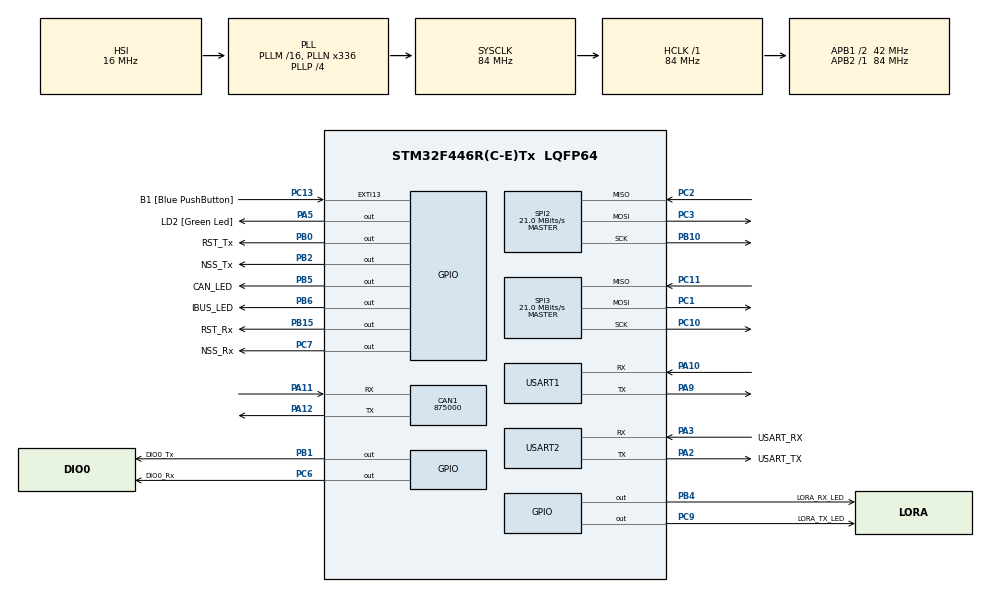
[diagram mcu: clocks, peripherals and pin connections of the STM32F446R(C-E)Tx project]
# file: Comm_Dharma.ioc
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CAN1.CalculateBaudRate=875000
CAN1.CalculateTimeBit=1142
CAN1.CalculateTimeQuantum=380.95238095238096
Dma.Request0=USART1_RX
Dma.USART1_RX.0.Direction=DMA_PERIPH_TO_MEMORY
Dma.USART1_RX.0.FIFOMode=DMA_FIFOMODE_DISABLE
Dma.USART1_RX.0.Instance=DMA2_Stream2
Dma.USART1_RX.0.MemDataAlignment=DMA_MDATAALIGN_BYTE
Dma.USART1_RX.0.MemInc=DMA_MINC_ENABLE
Dma.USART1_RX.0.Mode=DMA_NORMAL
Dma.USART1_RX.0.PeriphDataAlignment=DMA_PDATAALIGN_BYTE
Dma.USART1_RX.0.PeriphInc=DMA_PINC_DISABLE
Dma.USART1_RX.0.Priority=DMA_PRIORITY_MEDIUM
Mcu.Family=STM32F4
Mcu.Name=STM32F446R(C-E)Tx
Mcu.Package=LQFP64
NVIC.DMA2_Stream2_IRQn=true\:0\:0\:false\:false\:true\:false\:true\:true
NVIC.PriorityGroup=NVIC_PRIORITYGROUP_0
PA10.Mode=Asynchronous
PA10.Signal=USART1_RX
PA11.Mode=CAN_Activate
PA11.Signal=CAN1_RX
PA12.Mode=CAN_Activate
PA12.Signal=CAN1_TX
PA13.GPIO_Label=TMS
PA13.Mode=Serial_Wire
PA13.Signal=SYS_JTMS-SWDIO
PA14.GPIO_Label=TCK
PA14.Mode=Serial_Wire
PA14.Signal=SYS_JTCK-SWCLK
PA2.GPIO_Label=USART_TX
PA2.Mode=Asynchronous
PA2.Signal=USART2_TX
PA3.GPIO_Label=USART_RX
PA3.Mode=Asynchronous
PA3.Signal=USART2_RX
PA5.GPIO_Label=LD2 [Green Led]
PA5.Signal=GPIO_Output
PA9.Mode=Asynchronous
PA9.Signal=USART1_TX
PB0.GPIO_Label=RST_Tx
PB0.Signal=GPIO_Output
PB1.GPIO_Label=DIO0_Tx
PB1.Signal=GPIO_Output
PB10.Mode=Full_Duplex_Master
PB10.Signal=SPI2_SCK
PB15.GPIO_Label=RST_Rx
PB15.Signal=GPIO_Output
PB2.GPIO_Label=NSS_Tx
PB2.Signal=GPIO_Output
PB3.GPIO_Label=SWO
PB3.Signal=SYS_JTDO-SWO
PB4.GPIO_Label=LORA_RX_LED
PB4.Signal=GPIO_Output
PB5.GPIO_Label=CAN_LED
PB5.Signal=GPIO_Output
PB6.GPIO_Label=IBUS_LED
PB6.Signal=GPIO_Output
PC1.Mode=Full_Duplex_Master
PC1.Signal=SPI3_MOSI
PC10.Mode=Full_Duplex_Master
PC10.Signal=SPI3_SCK
PC11.Mode=Full_Duplex_Master
PC11.Signal=SPI3_MISO
PC13.GPIO_Label=B1 [Blue PushButton]
PC13.GPIO_ModeDefaultEXTI=GPIO_MODE_IT_FALLING
PC13.Signal=GPXTI13
PC14-OSC32_IN.Mode=LSE-External-Oscillator
PC14-OSC32_IN.Signal=RCC_OSC32_IN
PC15-OSC32_OUT.Mode=LSE-External-Oscillator
PC15-OSC32_OUT.Signal=RCC_OSC32_OUT
PC2.Mode=Full_Duplex_Master
PC2.Signal=SPI2_MISO
PC3.Mode=Full_Duplex_Master
PC3.Signal=SPI2_MOSI
PC6.GPIO_Label=DIO0_Rx
PC6.Signal=GPIO_Output
PC7.GPIO_Label=NSS_Rx
PC7.Signal=GPIO_Output
PC9.GPIO_Label=LORA_TX_LED
PC9.Signal=GPIO_Output
PH0-OSC_IN.Mode=HSE-External-Oscillator
PH0-OSC_IN.Signal=RCC_OSC_IN
PH1-OSC_OUT.Mode=HSE-External-Oscillator
PH1-OSC_OUT.Signal=RCC_OSC_OUT
ProjectManager.HeapSize=0x200
ProjectManager.StackSize=0x400
ProjectManager.TargetToolchain=STM32CubeIDE
RCC.48MHZClocksFreq_Value=84000000
RCC.AHBFreq_Value=84000000
RCC.APB1CLKDivider=RCC_HCLK_DIV2
RCC.APB1Freq_Value=42000000
RCC.APB1TimFreq_Value=84000000
RCC.APB2Freq_Value=84000000
RCC.APB2TimFreq_Value=84000000
RCC.CortexFreq_Value=84000000
RCC.FLatency-AdvancedSettings=FLASH_LATENCY_2
RCC.HCLKFreq_Value=84000000
RCC.HSE_VALUE=8000000
RCC.HSI_VALUE=16000000
RCC.PLLN=336
RCC.PLLP=RCC_PLLP_DIV4
RCC.SYSCLKFreq_VALUE=84000000
RCC.SYSCLKSource=RCC_SYSCLKSOURCE_PLLCLK
RCC.USBFreq_Value=168000000
RCC.VCOOutputFreq_Value=336000000
SPI2.CalculateBaudRate=21.0 MBits/s
SPI2.Direction=SPI_DIRECTION_2LINES
SPI2.Mode=SPI_MODE_MASTER
SPI2.VirtualType=VM_MASTER
SPI3.CalculateBaudRate=21.0 MBits/s
SPI3.Direction=SPI_DIRECTION_2LINES
SPI3.Mode=SPI_MODE_MASTER
SPI3.VirtualType=VM_MASTER
USART1.VirtualMode=VM_ASYNC
USART2.VirtualMode=VM_ASYNC
board=NUCLEO-F446RE

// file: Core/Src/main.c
/* USER CODE BEGIN Header */
/**
  ******************************************************************************
  * @file           : main.c
  * @brief          : Main program body
  ******************************************************************************
  * @attention
  *
  * Copyright (c) 2025 STMicroelectronics.
  * All rights reserved.
  *
  * This software is licensed under terms that can be found in the LICENSE file
  * in the root directory of this software component.
  * If no LICENSE file comes with this software, it is provided AS-IS.
  *
  ******************************************************************************
  */
/* USER CODE END Header */
#include "main.h"
#include "stdio.h"
#include "math.h"
#include "stdint.h"
#include "stdbool.h"
#include "string.h"
/* USER CODE BEGIN Includes */
#include "LoRa.h"
#include "J3_IBUS_FLYSKY.h"
/* USER CODE END Includes */

CAN_HandleTypeDef hcan1;

SPI_HandleTypeDef hspi2;
SPI_HandleTypeDef hspi3;

UART_HandleTypeDef huart1;
UART_HandleTypeDef huart2;
DMA_HandleTypeDef hdma_usart1_rx;

/* USER CODE BEGIN PV */
TRxIBus *RxIBus;
LoRa LoRa_Receive;  //Receive Instance
LoRa LoRa_Transmit; //Transmit Instance
/* USER CODE END PV */

bool extract_and_sum_data(void);
void channel_value(void);
void SystemClock_Config(void);
static void MX_GPIO_Init(void);
static void MX_DMA_Init(void);
static void MX_USART1_UART_Init(void);
static void MX_USART2_UART_Init(void);
static void MX_CAN1_Init(void);
static void MX_SPI2_Init(void);
static void MX_SPI3_Init(void);
/* USER CODE BEGIN PFP */

#define TEMP_BUFFER_SIZE 1024  // maximum size for temp_buffer
#define TARGET_SIZE 32
char temp_buffer[TEMP_BUFFER_SIZE];  // global buffer to store the formatted output
uint16_t temp_buffer_index = 0;  // index to track where we are in the temp_buffer
#define FRAME_SIZE 32

/*Global Channel Data*/
uint16_t channel_1= 0;
uint16_t channel_2= 0;
uint16_t channel_3= 0;
uint16_t channel_4= 0;
uint16_t channel_5= 0;
uint16_t channel_6= 0;
uint16_t channel_7= 0;
uint16_t channel_8= 0;
uint16_t channel_9= 0;
uint16_t channel_10= 0;

//LORA Global Variables
uint8_t read_data[128];
uint8_t send_data[128];
uint8_t packet_size = 0;

//example data

/* USER CODE END PFP */

int main(void)
{

  /* MCU Configuration--------------------------------------------------------*/

  /* Reset of all peripherals, Initializes the Flash interface and the Systick. */
  HAL_Init();

  /* Configure the system clock */
  SystemClock_Config();

  /* Initialize all configured peripherals */
  MX_GPIO_Init();
  MX_DMA_Init();
  MX_USART1_UART_Init();
  MX_USART2_UART_Init();
  MX_CAN1_Init();
  MX_SPI2_Init();
  MX_SPI3_Init();
  /* USER CODE BEGIN 2 */

  //IBUS Initialization
  RxIBus = J3_IBUS_new(&huart1, 14);
  HAL_UART_Receive_DMA(&huart1, RxIBus->buffer, 64);

  //LORA Initialization
  LoRa_Receive = newLoRa();
  LoRa_Transmit = newLoRa();

  //LORA pins initialization
	LoRa_Receive.hSPIx                 = &hspi3;
	LoRa_Receive.CS_port               = NSS_Tx_GPIO_Port;
	LoRa_Receive.CS_pin                = NSS_Tx_Pin;
	LoRa_Receive.reset_port            = RST_Tx_GPIO_Port;
	LoRa_Receive.reset_pin             = RST_Tx_Pin;
	LoRa_Receive.DIO0_port			   =   DIO0_Tx_GPIO_Port;
	LoRa_Receive.DIO0_pin			   = DIO0_Tx_Pin;

	LoRa_Receive.frequency             = 450;					    // default = 433 MHz
	LoRa_Receive.spredingFactor        = SF_7;					   // default = SF_7
	LoRa_Receive.bandWidth			   = BW_125KHz;				  // default = BW_125KHz
	LoRa_Receive.crcRate			   = CR_4_5;				 // default = CR_4_5
	LoRa_Receive.power			       = POWER_20db;			// default = 20db
	LoRa_Receive.overCurrentProtection = 120; 				   // default = 100 mA
	LoRa_Receive.preamble			   = 10;	              // default = 8;

	LoRa_Transmit.hSPIx                 = &hspi2;
	LoRa_Transmit.CS_port               = NSS_Rx_GPIO_Port;
	LoRa_Transmit.CS_pin                = NSS_Rx_Pin;
	LoRa_Transmit.reset_port            = RST_Rx_GPIO_Port;
	LoRa_Transmit.reset_pin             = RST_Rx_Pin;
	LoRa_Transmit.DIO0_port			 	= DIO0_Rx_GPIO_Port;
	LoRa_Transmit.DIO0_pin				= DIO0_Rx_Pin;

	LoRa_Transmit.frequency             = 433;							 // default = 433 MHz
	LoRa_Transmit.spredingFactor        = SF_7;							// default = SF_7
	LoRa_Transmit.bandWidth			    = BW_125KHz;				   // default = BW_125KHz
	LoRa_Transmit.crcRate				= CR_4_5;					  // default = CR_4_5
	LoRa_Transmit.power			        = POWER_20db;				 // default = 20db
	LoRa_Transmit.overCurrentProtection = 120; 					    // default = 100 mA
	LoRa_Transmit.preamble				= 10;

	LoRa_reset(&LoRa_Receive);
	LoRa_reset(&LoRa_Transmit);
	LoRa_init(&LoRa_Receive);
	LoRa_init(&LoRa_Transmit);

	HAL_UART_Transmit(&huart2, (uint8_t*)"Communication Dharma STM32 !\n", 40, HAL_MAX_DELAY);
  /* USER CODE END 2 */

  /* Infinite loop */
  while (1)
  {
	 LoRa_startReceiving(&LoRa_Receive);
	 packet_size = LoRa_receive(&LoRa_Receive, read_data, 12);

	 //optional
	 //HAL_UART_Transmit(&huart2, (uint8_t*)read_data, packet_size,HAL_MAX_DELAY);
	 //HAL_UART_Transmit(&huart2,(uint8_t*)"\n", 1,HAL_MAX_DELAY);

	 copy_buffer(RxIBus->buffer, 64);
	 if(extract_and_sum_data()==true){
		 channel_value();
	 }
	 J3_IBUS_RequestNewData(RxIBus);
	 //optional
	 /*HAL_UART_Transmit(&huart2, temp_buffer,128, HAL_MAX_DELAY);
	 HAL_UART_Transmit(&huart2, "\r\n", 2, HAL_MAX_DELAY);*/
	  //J3_IBUS_RequestNewData(RxIBus);
	  //HAL_Delay(100);
	  send_data[0] = 'x';
	  send_data[1] = 'h';
	  send_data[2] = 'i';
	  LoRa_transmit(&LoRa_Transmit, send_data, 128, 500);
  }
}

void SystemClock_Config(void)
{
  RCC_OscInitTypeDef RCC_OscInitStruct = {0};
  RCC_ClkInitTypeDef RCC_ClkInitStruct = {0};

  /** Configure the main internal regulator output voltage
  */
  __HAL_RCC_PWR_CLK_ENABLE();
  __HAL_PWR_VOLTAGESCALING_CONFIG(PWR_REGULATOR_VOLTAGE_SCALE3);

  /** Initializes the RCC Oscillators according to the specified parameters
  * in the RCC_OscInitTypeDef structure.
  */
  RCC_OscInitStruct.OscillatorType = RCC_OSCILLATORTYPE_HSI;
  RCC_OscInitStruct.HSIState = RCC_HSI_ON;
  RCC_OscInitStruct.HSICalibrationValue = RCC_HSICALIBRATION_DEFAULT;
  RCC_OscInitStruct.PLL.PLLState = RCC_PLL_ON;
  RCC_OscInitStruct.PLL.PLLSource = RCC_PLLSOURCE_HSI;
  RCC_OscInitStruct.PLL.PLLM = 16;
  RCC_OscInitStruct.PLL.PLLN = 336;
  RCC_OscInitStruct.PLL.PLLP = RCC_PLLP_DIV4;
  RCC_OscInitStruct.PLL.PLLQ = 2;
  RCC_OscInitStruct.PLL.PLLR = 2;
  if (HAL_RCC_OscConfig(&RCC_OscInitStruct) != HAL_OK)
  {
    Error_Handler();
  }

  /** Initializes the CPU, AHB and APB buses clocks
  */
  RCC_ClkInitStruct.ClockType = RCC_CLOCKTYPE_HCLK|RCC_CLOCKTYPE_SYSCLK
                              |RCC_CLOCKTYPE_PCLK1|RCC_CLOCKTYPE_PCLK2;
  RCC_ClkInitStruct.SYSCLKSource = RCC_SYSCLKSOURCE_PLLCLK;
  RCC_ClkInitStruct.AHBCLKDivider = RCC_SYSCLK_DIV1;
  RCC_ClkInitStruct.APB1CLKDivider = RCC_HCLK_DIV2;
  RCC_ClkInitStruct.APB2CLKDivider = RCC_HCLK_DIV1;

  if (HAL_RCC_ClockConfig(&RCC_ClkInitStruct, FLASH_LATENCY_2) != HAL_OK)
  {
    Error_Handler();
  }
}

static void MX_CAN1_Init(void)
{

  hcan1.Instance = CAN1;
  hcan1.Init.Prescaler = 16;
  hcan1.Init.Mode = CAN_MODE_NORMAL;
  hcan1.Init.SyncJumpWidth = CAN_SJW_1TQ;
  hcan1.Init.TimeSeg1 = CAN_BS1_1TQ;
  hcan1.Init.TimeSeg2 = CAN_BS2_1TQ;
  hcan1.Init.TimeTriggeredMode = DISABLE;
  hcan1.Init.AutoBusOff = DISABLE;
  hcan1.Init.AutoWakeUp = DISABLE;
  hcan1.Init.AutoRetransmission = DISABLE;
  hcan1.Init.ReceiveFifoLocked = DISABLE;
  hcan1.Init.TransmitFifoPriority = DISABLE;
  if (HAL_CAN_Init(&hcan1) != HAL_OK)
  {
    Error_Handler();
  }

}

static void MX_SPI2_Init(void)
{

  /* SPI2 parameter configuration*/
  hspi2.Instance = SPI2;
  hspi2.Init.Mode = SPI_MODE_MASTER;
  hspi2.Init.Direction = SPI_DIRECTION_2LINES;
  hspi2.Init.DataSize = SPI_DATASIZE_8BIT;
  hspi2.Init.CLKPolarity = SPI_POLARITY_LOW;
  hspi2.Init.CLKPhase = SPI_PHASE_1EDGE;
  hspi2.Init.NSS = SPI_NSS_SOFT;
  hspi2.Init.BaudRatePrescaler = SPI_BAUDRATEPRESCALER_2;
  hspi2.Init.FirstBit = SPI_FIRSTBIT_MSB;
  hspi2.Init.TIMode = SPI_TIMODE_DISABLE;
  hspi2.Init.CRCCalculation = SPI_CRCCALCULATION_DISABLE;
  hspi2.Init.CRCPolynomial = 10;
  if (HAL_SPI_Init(&hspi2) != HAL_OK)
  {
    Error_Handler();
  }

}

static void MX_SPI3_Init(void)
{

  /* SPI3 parameter configuration*/
  hspi3.Instance = SPI3;
  hspi3.Init.Mode = SPI_MODE_MASTER;
  hspi3.Init.Direction = SPI_DIRECTION_2LINES;
  hspi3.Init.DataSize = SPI_DATASIZE_8BIT;
  hspi3.Init.CLKPolarity = SPI_POLARITY_LOW;
  hspi3.Init.CLKPhase = SPI_PHASE_1EDGE;
  hspi3.Init.NSS = SPI_NSS_SOFT;
  hspi3.Init.BaudRatePrescaler = SPI_BAUDRATEPRESCALER_2;
  hspi3.Init.FirstBit = SPI_FIRSTBIT_MSB;
  hspi3.Init.TIMode = SPI_TIMODE_DISABLE;
  hspi3.Init.CRCCalculation = SPI_CRCCALCULATION_DISABLE;
  hspi3.Init.CRCPolynomial = 10;
  if (HAL_SPI_Init(&hspi3) != HAL_OK)
  {
    Error_Handler();
  }

}

static void MX_USART1_UART_Init(void)
{

  huart1.Instance = USART1;
  huart1.Init.BaudRate = 115200;
  huart1.Init.WordLength = UART_WORDLENGTH_8B;
  huart1.Init.StopBits = UART_STOPBITS_1;
  huart1.Init.Parity = UART_PARITY_NONE;
  huart1.Init.Mode = UART_MODE_TX_RX;
  huart1.Init.HwFlowCtl = UART_HWCONTROL_NONE;
  huart1.Init.OverSampling = UART_OVERSAMPLING_16;
  if (HAL_UART_Init(&huart1) != HAL_OK)
  {
    Error_Handler();
  }

}

static void MX_USART2_UART_Init(void)
{

  huart2.Instance = USART2;
  huart2.Init.BaudRate = 115200;
  huart2.Init.WordLength = UART_WORDLENGTH_8B;
  huart2.Init.StopBits = UART_STOPBITS_1;
  huart2.Init.Parity = UART_PARITY_NONE;
  huart2.Init.Mode = UART_MODE_TX_RX;
  huart2.Init.HwFlowCtl = UART_HWCONTROL_NONE;
  huart2.Init.OverSampling = UART_OVERSAMPLING_16;
  if (HAL_UART_Init(&huart2) != HAL_OK)
  {
    Error_Handler();
  }

}

static void MX_DMA_Init(void)
{

  /* DMA controller clock enable */
  __HAL_RCC_DMA2_CLK_ENABLE();

  /* DMA interrupt init */
  /* DMA2_Stream2_IRQn interrupt configuration */
  HAL_NVIC_SetPriority(DMA2_Stream2_IRQn, 0, 0);
  HAL_NVIC_EnableIRQ(DMA2_Stream2_IRQn);

}

static void MX_GPIO_Init(void)
{
  GPIO_InitTypeDef GPIO_InitStruct = {0};

  /* GPIO Ports Clock Enable */
  __HAL_RCC_GPIOC_CLK_ENABLE();
  __HAL_RCC_GPIOH_CLK_ENABLE();
  __HAL_RCC_GPIOA_CLK_ENABLE();
  __HAL_RCC_GPIOB_CLK_ENABLE();

  /*Configure GPIO pin Output Level */
  HAL_GPIO_WritePin(LD2_GPIO_Port, LD2_Pin, GPIO_PIN_RESET);

  /*Configure GPIO pin Output Level */
  HAL_GPIO_WritePin(GPIOB, RST_Tx_Pin|DIO0_Tx_Pin|NSS_Tx_Pin|RST_Rx_Pin
                          |LORA_RX_LED_Pin|CAN_LED_Pin|IBUS_LED_Pin, GPIO_PIN_RESET);

  /*Configure GPIO pin Output Level */
  HAL_GPIO_WritePin(GPIOC, DIO0_Rx_Pin|NSS_Rx_Pin|LORA_TX_LED_Pin, GPIO_PIN_RESET);

  /*Configure GPIO pin : B1_Pin */
  GPIO_InitStruct.Pin = B1_Pin;
  GPIO_InitStruct.Mode = GPIO_MODE_IT_FALLING;
  GPIO_InitStruct.Pull = GPIO_NOPULL;
  HAL_GPIO_Init(B1_GPIO_Port, &GPIO_InitStruct);

  /*Configure GPIO pin : LD2_Pin */
  GPIO_InitStruct.Pin = LD2_Pin;
  GPIO_InitStruct.Mode = GPIO_MODE_OUTPUT_PP;
  GPIO_InitStruct.Pull = GPIO_NOPULL;
  GPIO_InitStruct.Speed = GPIO_SPEED_FREQ_LOW;
  HAL_GPIO_Init(LD2_GPIO_Port, &GPIO_InitStruct);

  /*Configure GPIO pins : RST_Tx_Pin DIO0_Tx_Pin NSS_Tx_Pin RST_Rx_Pin
                           LORA_RX_LED_Pin CAN_LED_Pin IBUS_LED_Pin */
  GPIO_InitStruct.Pin = RST_Tx_Pin|DIO0_Tx_Pin|NSS_Tx_Pin|RST_Rx_Pin
                          |LORA_RX_LED_Pin|CAN_LED_Pin|IBUS_LED_Pin;
  GPIO_InitStruct.Mode = GPIO_MODE_OUTPUT_PP;
  GPIO_InitStruct.Pull = GPIO_NOPULL;
  GPIO_InitStruct.Speed = GPIO_SPEED_FREQ_LOW;
  HAL_GPIO_Init(GPIOB, &GPIO_InitStruct);

  /*Configure GPIO pins : DIO0_Rx_Pin NSS_Rx_Pin LORA_TX_LED_Pin */
  GPIO_InitStruct.Pin = DIO0_Rx_Pin|NSS_Rx_Pin|LORA_TX_LED_Pin;
  GPIO_InitStruct.Mode = GPIO_MODE_OUTPUT_PP;
  GPIO_InitStruct.Pull = GPIO_NOPULL;
  GPIO_InitStruct.Speed = GPIO_SPEED_FREQ_LOW;
  HAL_GPIO_Init(GPIOC, &GPIO_InitStruct);

}

/* USER CODE BEGIN 4 */
bool extract_and_sum_data(void) {
    uint32_t sum = 0;
    uint16_t num_values = 0;
    uint16_t num_values_x = 0;
    uint16_t last_two_values[2] = {0};
    uint16_t expected_result = 0;

    for (uint16_t i = 0; i < temp_buffer_index - 3; i++) {
        if (temp_buffer[i] == '0' && temp_buffer[i + 1] == 'x') {

            char hex_value[3] = {};
            hex_value[0] = temp_buffer[i + 2];
            hex_value[1] = temp_buffer[i + 3];

            uint8_t value = (uint8_t)strtol(hex_value, NULL, 16);
            num_values_x++;
           if (num_values_x == 31) {
                last_two_values[0] = value;
            }
            if (num_values_x == 32) {
                last_two_values[1] = value;
            }

            i += 3;

            if (num_values_x >= 32) {
                break;
            }
        }
    }

    for (uint16_t i = 0; i < temp_buffer_index - 3; i++) {
        if (temp_buffer[i] == '0' && temp_buffer[i + 1] == 'x') {
            char hex_value[3] = {};
            hex_value[0] = temp_buffer[i + 2];
            hex_value[1] = temp_buffer[i + 3];

            uint8_t value = (uint8_t)strtol(hex_value, NULL, 16);
            sum += value;
            num_values++;

            i += 3;
            if (num_values >= 30) {
                break;
            }
        }
    }

    uint32_t result = 0xFFFF - sum;

    expected_result = (last_two_values[1] << 8) | last_two_values[0];

    //optional

    /*char result_str[40];
    char result_str_2[40];

    snprintf(result_str, sizeof(result_str), "Result: 0x%04X", result);
    HAL_UART_Transmit(&huart2, (uint8_t*)result_str, strlen(result_str), HAL_MAX_DELAY);
    HAL_UART_Transmit(&huart2, "\r\n", 2, HAL_MAX_DELAY);

    snprintf(result_str_2, sizeof(result_str), "Expected: 0x%04X", expected_result);
    HAL_UART_Transmit(&huart2, (uint8_t*)result_str, strlen(result_str), HAL_MAX_DELAY);
    HAL_UART_Transmit(&huart2, "\r\n", 2, HAL_MAX_DELAY);  // Send newline after expected result*/

    if (result == expected_result) {
        //HAL_UART_Transmit(&huart2, "Match!\r\n", 8, HAL_MAX_DELAY);
    	return true;
    } else {
        //HAL_UART_Transmit(&huart2, "No Match!\r\n", 11, HAL_MAX_DELAY);
        //Error_Handler();
    	return false;
    }
}

void channel_value() {
    uint16_t num_values_x = 0;
    uint16_t channel_1_hex[2] = {0};
    uint16_t channel_2_hex[2] = {0};
    uint16_t channel_3_hex[2] = {0};
    uint16_t channel_4_hex[2] = {0};
    uint16_t channel_5_hex[2] = {0};
    uint16_t channel_6_hex[2] = {0};
    uint16_t channel_7_hex[2] = {0};
    uint16_t channel_8_hex[2] = {0};
    uint16_t channel_9_hex[2] = {0};
    uint16_t channel_10_hex[2] = {0};

    for (uint16_t i = 0; i < temp_buffer_index - 3; i++) {
        if (temp_buffer[i] == '0' && temp_buffer[i + 1] == 'x') {

            char hex_value[3] = {};
            hex_value[0] = temp_buffer[i + 2];
            hex_value[1] = temp_buffer[i + 3];

            uint8_t value = (uint8_t)strtol(hex_value, NULL, 16);
            num_values_x++;
            if (num_values_x == 3) {
            	channel_1_hex[0] = value;
            }
            if (num_values_x == 4) {
            	channel_1_hex[1] = value;
            }
            if (num_values_x == 5) {
            	channel_2_hex[0] = value;
            }
            if (num_values_x == 6) {
            	channel_2_hex[1] = value;
            }
            if (num_values_x == 7) {
            	channel_3_hex[0] = value;
            }
            if (num_values_x == 8) {
            	channel_3_hex[1] = value;
            }
            if (num_values_x == 9) {
            	channel_4_hex[0] = value;
            }
            if (num_values_x == 10) {
            	channel_4_hex[1] = value;
            }
            if (num_values_x == 11) {
            	channel_5_hex[0] = value;
            }
            if (num_values_x == 12) {
            	channel_5_hex[1] = value;
            }
            if (num_values_x == 13) {
            	channel_6_hex[0] = value;
            }
            if (num_values_x == 14) {
            	channel_6_hex[1] = value;
            }
            if (num_values_x == 15) {
            	channel_7_hex[0] = value;
            }
            if (num_values_x == 16) {
            	channel_7_hex[1] = value;
            }
            if (num_values_x == 17) {
            	channel_8_hex[0] = value;
            }
            if (num_values_x == 18) {
            	channel_8_hex[1] = value;
            }
            if (num_values_x == 19) {
            	channel_9_hex[0] = value;
            }
            if (num_values_x == 20) {
            	channel_9_hex[1] = value;
            }
            if (num_values_x == 21) {
            	channel_10_hex[0] = value;
            }
            if (num_values_x == 22) {
            	channel_10_hex[1] = value;
            }

            i += 3;

            if (num_values_x >= 25) {
                break;
            }
        }
    }

    // Combine the two last values to get the expected result in little-endian format
    channel_1 = (channel_1_hex[1] << 8) | channel_1_hex[0];
    channel_2 = (channel_2_hex[1] << 8) | channel_2_hex[0];
    channel_3 = (channel_3_hex[1] << 8) | channel_3_hex[0];
    channel_4 = (channel_4_hex[1] << 8) | channel_4_hex[0];
    channel_5 = (channel_5_hex[1] << 8) | channel_5_hex[0];
    channel_6 = (channel_6_hex[1] << 8) | channel_6_hex[0];
    channel_7 = (channel_7_hex[1] << 8) | channel_7_hex[0];
    channel_8 = (channel_8_hex[1] << 8) | channel_8_hex[0];
    channel_9 = (channel_9_hex[1] << 8) | channel_9_hex[0];
    channel_10 = (channel_10_hex[1] << 8) | channel_10_hex[0];

    //optional

    // Format the expected result as a decimal number for UART transmission
    /*char result_str_1[40];
    char result_str_2[40];
    char result_str_3[40];
    char result_str_4[40];
    char result_str_5[40];
    char result_str_6[40];
    char result_str_7[40];
    char result_str_8[40];
    char result_str_9[40];
    char result_str_10[40];

    snprintf(result_str_1, sizeof(result_str_1), "Channel 1: %d", channel_1);
    snprintf(result_str_2, sizeof(result_str_2), "Channel 2: %d", channel_2);
    snprintf(result_str_3, sizeof(result_str_3), "Channel 3: %d", channel_3);
    snprintf(result_str_4, sizeof(result_str_4), "Channel 4: %d", channel_4);
    snprintf(result_str_5, sizeof(result_str_5), "Channel 5: %d", channel_5);
    snprintf(result_str_6, sizeof(result_str_6), "Channel 6: %d", channel_6);
    snprintf(result_str_7, sizeof(result_str_7), "Channel 7: %d", channel_7);
    snprintf(result_str_8, sizeof(result_str_8), "Channel 8: %d", channel_8);
    snprintf(result_str_9, sizeof(result_str_9), "Channel 9: %d", channel_9);
    snprintf(result_str_10, sizeof(result_str_10), "Channel 10: %d", channel_10);

    // Send the results via UART
    HAL_UART_Transmit(&huart2, (uint8_t*)result_str_1, strlen(result_str_1), HAL_MAX_DELAY);
    HAL_UART_Transmit(&huart2, "\r\n", 2, HAL_MAX_DELAY);  // Send newline

    HAL_UART_Transmit(&huart2, (uint8_t*)result_str_2, strlen(result_str_2), HAL_MAX_DELAY);
    HAL_UART_Transmit(&huart2, "\r\n", 2, HAL_MAX_DELAY);  // Send newline

    HAL_UART_Transmit(&huart2, (uint8_t*)result_str_3, strlen(result_str_3), HAL_MAX_DELAY);
    HAL_UART_Transmit(&huart2, "\r\n", 2, HAL_MAX_DELAY);  // Send newline

    HAL_UART_Transmit(&huart2, (uint8_t*)result_str_4, strlen(result_str_4), HAL_MAX_DELAY);
    HAL_UART_Transmit(&huart2, "\r\n", 2, HAL_MAX_DELAY);  // Send newline

    HAL_UART_Transmit(&huart2, (uint8_t*)result_str_5, strlen(result_str_5), HAL_MAX_DELAY);
    HAL_UART_Transmit(&huart2, "\r\n", 2, HAL_MAX_DELAY);  // Send newline

    HAL_UART_Transmit(&huart2, (uint8_t*)result_str_6, strlen(result_str_6), HAL_MAX_DELAY);
    HAL_UART_Transmit(&huart2, "\r\n", 2, HAL_MAX_DELAY);  // Send newline

    HAL_UART_Transmit(&huart2, (uint8_t*)result_str_7, strlen(result_str_7), HAL_MAX_DELAY);
    HAL_UART_Transmit(&huart2, "\r\n", 2, HAL_MAX_DELAY);  // Send newline

    HAL_UART_Transmit(&huart2, (uint8_t*)result_str_8, strlen(result_str_8), HAL_MAX_DELAY);
    HAL_UART_Transmit(&huart2, "\r\n", 2, HAL_MAX_DELAY);  // Send newline

    HAL_UART_Transmit(&huart2, (uint8_t*)result_str_9, strlen(result_str_9), HAL_MAX_DELAY);
    HAL_UART_Transmit(&huart2, "\r\n", 2, HAL_MAX_DELAY);  // Send newline

    HAL_UART_Transmit(&huart2, (uint8_t*)result_str_10, strlen(result_str_10), HAL_MAX_DELAY);
    HAL_UART_Transmit(&huart2, "\r\n", 2, HAL_MAX_DELAY);  // Send newline*/

}

void copy_buffer(uint8_t *buffer, uint16_t size) {
	char temp[5];  // Temporary buffer to format each byte
	    uint16_t start_index = 0;  // Index where the specific frame starts

	    // Clear the temp_buffer before storing new data
	    memset(temp_buffer, 0, TEMP_BUFFER_SIZE);
	    temp_buffer_index = 0;  // Reset the index to start fresh

	    // Loop through the buffer to find the specific frame, in this case from 0x20 (0x20 0x40 ... 0xF3)
	    for (uint16_t i = 0; i < size; i++) {
	        // Check if we are at the beginning of the specific frame we want to print
	        if (buffer[i] == 0x20 && i + TARGET_SIZE <= size) {  // Look for the start of the frame
	            start_index = i;
	            break;
	        }
	    }

	    // Loop through the specific part of the buffer and format it
	    for (uint16_t i = start_index; i < start_index + TARGET_SIZE; i++) {
	        sprintf(temp, "0x%02X", buffer[i]);

	        // Copy the formatted data (temp) into the global temp_buffer
	        uint16_t len = strlen(temp);
	        if (temp_buffer_index + len < TEMP_BUFFER_SIZE) {
	            memcpy(&temp_buffer[temp_buffer_index], temp, len);
	            temp_buffer_index += len;  // Update the index in the temp_buffer
	        } else {
	            // Handle buffer overflow (optional, you may reset or stop appending)
	            break;
	        }
	    }

	}

/* USER CODE END 4 */

void Error_Handler(void)
{
  __disable_irq();
  while (1)
  {
  }
}
